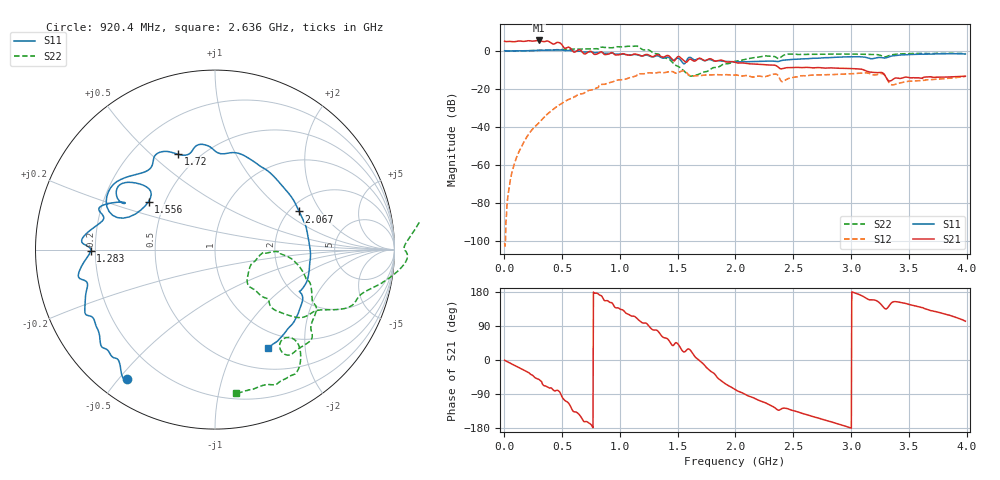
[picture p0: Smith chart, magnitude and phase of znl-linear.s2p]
#  HZ  S  RI  R  50.00
! Rohde & Schwarz Vector Network Analyzer
! Rohde-Schwarz,ZNL20-2Port,1323001220101312,1.72.1.6-23.02.1.246
! Created: UTC 10/7/2024, 7:16:00 PM
! freq[Hz]  re:S11  im:S11  re:S21  im:S21  re:S12  im:S12  re:S22  im:S22
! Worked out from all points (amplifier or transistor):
!   1023 points, 3.9 MHz to 3.99 GHz, reference 50 ohm
!   highest |S21| = 5.5 dB at 300.3 MHz (marker M1)
!   |S21| within 3 dB of that: start of sweep to 508.2 MHz
!   unconditionally stable (mu >= 1): 1.371 GHz to 1.393 GHz; 1.424 GHz to end of sweep
!   at 666.9 MHz: K = -0.59, MSG = 11.3 dB, |S12| = -22.6 dB
!   at 1.997 GHz: K = 2.57, MAG = -3.6 dB, |S12| = -12.6 dB
!   at 3.99 GHz: K = 1.71, MAG = -4.8 dB, |S12| = -13.5 dB
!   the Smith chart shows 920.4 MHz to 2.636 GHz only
!   S11 on the Smith chart (normalised r, x): 920.4 MHz: 0.09, -0.53; 1.283 GHz: 0.18, -0.00; 1.556 GHz: 0.41, +0.28; 1.72 GHz: 0.39, +0.61; 2.067 GHz: 2.25, +1.30; 2.636 GHz: 0.76, -1.38
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3900000  1.01 -0.00673  1.793 -0.0196  -3.51e-06 -8.23e-06  -0.9896 0.0078
1.209e8  0.9798 -0.2082  1.707 -0.5875  -0.00195 0.000488  -0.958 0.257
3.003e8  0.8933 -0.517  1.177 -1.46  -0.011 0.00659  -0.8165 0.6249
3.51e8  0.8388 -0.6258  0.6545 -1.627  -0.0154 0.0107  -0.7479 0.7285
4.719e8  0.6689 -0.815  0.2338 -1.64  -0.0228 0.0292  -0.5382 0.9266
5.733e8  0.3492 -0.9569  -0.6207 -1.001  -0.0213 0.051  -0.3333 1.042
6.708e8  0.0374 -0.9585  -0.866 -0.4374  -0.0115 0.0736  -0.1227 1.107
9.204e8  -0.4909 -0.7211  -0.771 0.4135  0.0666 0.1322  0.5514 1.063
1.1271e9  -0.7225 -0.357  -0.3491 0.7461  0.1692 0.1291  0.9787 0.8919
1.1895e9  -0.71 -0.1971  -0.117 0.7259  0.2444 0.0437  1.103 0.0949
1.2831e9  -0.6922 -0.00529  0.1201 0.6921  0.2577 -0.0348  0.8825 -0.2105
1.3338e9  -0.7287 0.0761  0.2031 0.7576  0.2611 -0.0736  0.7616 -0.3119
1.5561e9  -0.3698 0.2679  0.5127 0.2003  0.1644 -0.2526  0.2058 -0.2153
1.6029e9  -0.5946 0.3206  0.5309 0.2828  0.0902 -0.2076  0.1886 -0.1178
1.7199e9  -0.2043 0.5305  0.57 -0.0954  0.0882 -0.2101  0.2736 -0.015
1.9968e9  0.3953 0.3313  0.1023 -0.4913  -0.0243 -0.2324  0.5062 -0.1593
2.067e9  0.4688 0.2123  0.018 -0.4798  -0.0529 -0.2127  0.5374 -0.2231
2.4375e9  0.4712 -0.3342  -0.2184 -0.2853  -0.0903 -0.1488  0.4691 -0.6552
2.6364e9  0.298 -0.5507  -0.3031 -0.204  -0.1941 -0.1164  0.1166 -0.8014
2.6637e9  0.2716 -0.5742  -0.3055 -0.1861  -0.202 -0.1121  0.0813 -0.8107
3.3267e9  -0.3065 -0.6212  -0.1285 0.1013  -0.0644 0.136  -0.4519 -0.5935
3.9897e9  -0.8177 -0.1258  -0.0463 0.2113  -0.0386 0.2087  -0.8367 -0.1093
